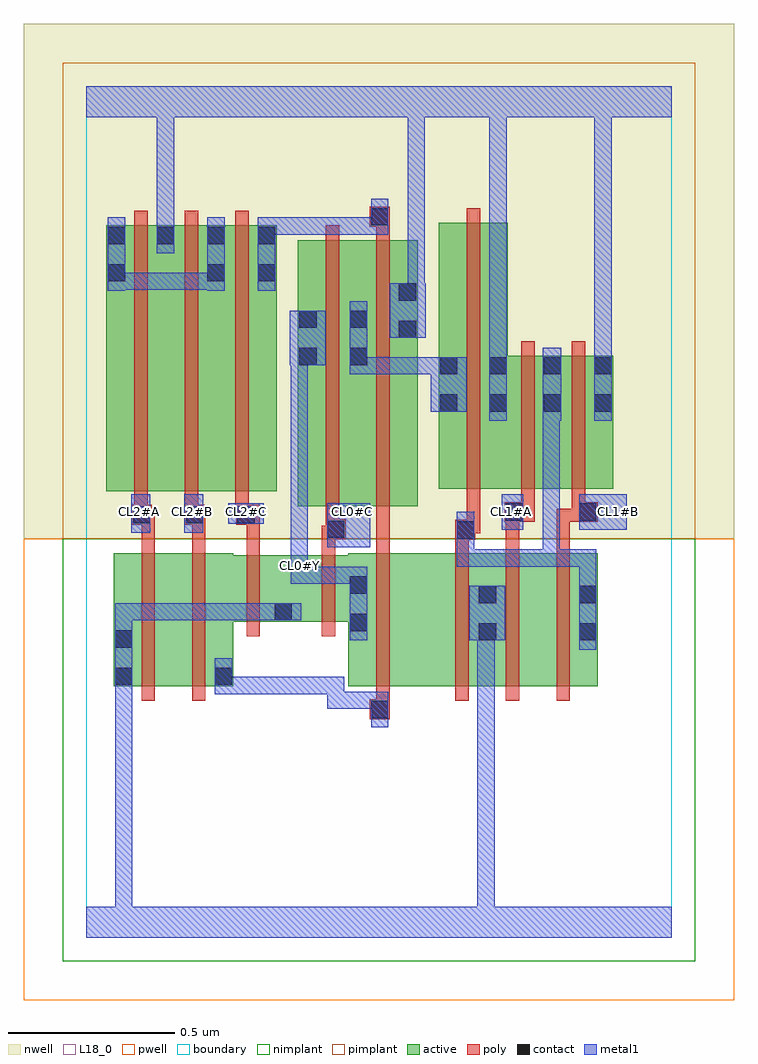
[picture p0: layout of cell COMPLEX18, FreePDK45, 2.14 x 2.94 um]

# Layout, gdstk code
import gdstk
lib = gdstk.Library(unit=1e-6, precision=1e-09)
def R(c, l, rs):  # rectangles x0, y0, x1, y1
    for r in rs: c.add(gdstk.rectangle(r[:2], r[2:], *l))
def A(c, l, x, y, w, h, nx, ny, dx, dy):  # array of equal rectangles
    R(c, l, [(x+i*dx, y+j*dy, x+i*dx+w, y+j*dy+h) for i in range(nx) for j in range(ny)])
active = (1, 0)
pwell = (2, 0)
nwell = (3, 0)
nimplant = (4, 0)
pimplant = (5, 0)
poly = (9, 0)
contact = (10, 0)
metal1 = (11, 0)
L18_0 = (18, 0)
boundary = (235, 0)

complex18 = lib.new_cell('COMPLEX18')
R(complex18, active, [(0.082,0.756,0.142,1.156), (0.082,0.756,0.262,1.156), (0.262,0.756,0.442,1.156), (0.382,0.756,0.442,0.956), (0.788,0.756,0.968,1.156), (0.968,0.756,1.236,1.156), (1.176,0.756,1.358,1.156), (1.176,0.756,1.236,1.062), (1.358,0.756,1.538,1.156), (1.478,0.756,1.538,1.156), (0.788,0.762,0.848,1.118), (0.382,0.95,0.622,1.15), (0.562,0.95,0.848,1.15), (0.562,0.95,0.622,1.062), (0.636,1.298,0.696,2.044), (0.636,1.298,0.848,2.098), (0.788,1.298,0.996,2.098), (0.936,1.298,0.996,2.044), (0.06,1.342,0.268,2.142), (0.06,1.342,0.12,2.142), (0.208,1.342,0.42,2.142), (0.36,1.342,0.572,2.142), (0.512,1.342,0.572,2.142), (0.788,1.35,0.848,2.044), (1.06,1.35,1.268,2.15), (1.06,1.35,1.12,2.044), (1.208,1.35,1.432,1.75), (1.372,1.35,1.584,1.75), (1.524,1.35,1.584,1.75), (1.372,1.388,1.432,1.75), (1.208,1.416,1.268,1.75), (0.208,1.686,0.268,2.142), (0.36,1.686,0.42,2.142)])
R(complex18, pwell, [(-0.188,-0.188,1.948,1.2)])
R(complex18, nwell, [(-0.188,1.2,1.948,2.748)])
R(complex18, nimplant, [(-0.072,-0.072,1.832,1.2)])
R(complex18, pimplant, [(-0.072,1.2,1.832,2.632)])
A(complex18, poly, 1.11, 0.712, 0.04, 0.488, 3, 1, 0.152, 0)
A(complex18, poly, 0.144, 1.262, 0.04, 0.076, 3, 1, 0.152, 0)
A(complex18, poly, 0.144, 1.298, 0.04, 0.888, 3, 1, 0.152, 0)
R(complex18, poly, [(0.852,0.656,0.912,0.716), (0.872,0.676,0.912,0.752), (0.166,0.712,0.206,1.2), (0.318,0.712,0.358,1.2), (0.872,0.712,0.912,1.2), (0.482,0.906,0.522,1.194), (0.708,0.906,0.748,1.194), (0.482,1.154,0.522,1.282), (0.708,1.154,0.748,1.238), (0.166,1.16,0.206,1.282), (0.318,1.16,0.358,1.282), (0.872,1.16,0.912,1.236), (1.11,1.16,1.15,1.236), (1.262,1.16,1.302,1.29), (1.414,1.16,1.454,1.29), (0.872,1.196,0.912,1.236), (0.872,1.196,0.912,1.236), (0.872,1.196,0.912,1.236), (0.872,1.196,0.912,1.294), (1.11,1.196,1.17,1.256), (0.708,1.198,0.76,1.238), (0.72,1.198,0.76,1.238), (0.72,1.198,0.78,1.258), (1.13,1.216,1.17,1.256), (1.13,1.216,1.184,1.256), (1.144,1.216,1.184,1.346), (0.72,1.218,0.76,1.294), (0.136,1.242,0.196,1.302), (0.156,1.242,0.196,1.282), (0.156,1.242,0.206,1.282), (0.296,1.242,0.356,1.302), (0.316,1.242,0.356,1.282), (0.316,1.242,0.358,1.282), (0.45,1.242,0.522,1.302), (1.258,1.25,1.348,1.31), (1.262,1.25,1.302,1.29), (1.262,1.25,1.302,1.29), (1.414,1.25,1.5,1.29), (1.46,1.25,1.5,1.29), (1.46,1.25,1.538,1.31), (0.72,1.254,0.76,2.142), (0.872,1.254,0.912,2.142), (0.448,1.262,0.49,1.302), (0.45,1.262,0.49,1.302), (1.308,1.27,1.348,1.346), (1.46,1.27,1.5,1.346), (1.144,1.306,1.184,2.194), (1.308,1.306,1.348,1.794), (1.46,1.306,1.5,1.794), (0.872,2.102,0.912,2.178), (0.852,2.138,0.912,2.198)])
A(complex18, contact, 0.212, 2.086, 0.052, 0.052, 3, 1, 0.152, 0)
R(complex18, contact, [(0.856,0.66,0.908,0.712), (0.086,0.76,0.138,0.812), (0.386,0.76,0.438,0.812), (0.086,0.872,0.138,0.924), (1.18,0.894,1.232,0.946), (1.482,0.894,1.534,0.946), (0.792,0.922,0.844,0.974), (0.566,0.954,0.618,1.006), (1.18,1.006,1.232,1.058), (1.482,1.006,1.534,1.058), (0.792,1.034,0.844,1.086), (1.114,1.2,1.166,1.252), (0.724,1.202,0.776,1.254), (0.14,1.246,0.192,1.298), (0.3,1.246,0.352,1.298), (0.454,1.246,0.506,1.298), (1.262,1.254,1.314,1.306), (1.482,1.254,1.534,1.306), (1.064,1.582,1.116,1.634), (1.212,1.582,1.264,1.634), (1.376,1.582,1.428,1.634), (1.528,1.582,1.58,1.634), (1.064,1.694,1.116,1.746), (1.212,1.694,1.264,1.746), (1.376,1.694,1.428,1.746), (1.528,1.694,1.58,1.746), (0.64,1.722,0.692,1.774), (0.792,1.722,0.844,1.774), (0.94,1.804,0.992,1.856), (0.64,1.834,0.692,1.886), (0.792,1.834,0.844,1.886), (0.94,1.916,0.992,1.968), (0.064,1.974,0.116,2.026), (0.364,1.974,0.416,2.026), (0.516,1.974,0.568,2.026), (0.064,2.086,0.116,2.138), (0.856,2.142,0.908,2.194)])
R(complex18, metal1, [(0,0,1.76,0.092), (0.086,0.04,0.138,0.784), (1.176,0.04,1.228,0.092), (1.176,0.04,1.228,0.092), (1.176,0.04,1.228,0.092), (1.176,0.04,1.228,0.092), (1.176,0.04,1.228,0.092), (1.176,0.04,1.228,0.092), (1.176,0.04,1.228,0.092), (1.176,0.04,1.228,0.092), (1.176,0.04,1.228,0.092), (1.176,0.04,1.228,0.092), (1.176,0.04,1.228,0.092), (1.176,0.04,1.228,0.092), (1.176,0.04,1.228,0.946), (0.856,0.632,0.908,0.74), (0.724,0.688,0.776,0.74), (0.724,0.688,0.908,0.74), (0.724,0.688,0.776,0.784), (0.086,0.732,0.138,0.784), (0.086,0.732,0.138,0.784), (0.086,0.732,0.138,0.784), (0.086,0.732,0.138,0.784), (0.086,0.732,0.138,0.784), (0.086,0.732,0.138,0.784), (0.086,0.732,0.138,0.784), (0.086,0.732,0.138,0.784), (0.086,0.732,0.138,0.784), (0.086,0.732,0.138,0.784), (0.086,0.732,0.138,0.784), (0.086,0.732,0.138,0.784), (0.086,0.732,0.138,0.952), (0.386,0.732,0.438,0.784), (0.386,0.732,0.438,0.784), (0.386,0.732,0.438,0.84), (0.386,0.732,0.666,0.784), (0.614,0.732,0.666,0.784), (0.614,0.732,0.666,0.784), (0.614,0.732,0.666,0.784), (0.614,0.732,0.776,0.784), (0.724,0.732,0.776,0.784), (0.724,0.732,0.776,0.784), (0.724,0.732,0.776,0.784), (1.482,0.866,1.534,1.086), (0.792,0.894,0.844,1.114), (1.152,0.894,1.26,1.058), (0.086,0.9,0.138,1.006), (0.086,0.954,0.138,1.006), (0.086,0.954,0.138,1.006), (0.086,0.954,0.138,1.006), (0.086,0.954,0.138,1.006), (0.086,0.954,0.138,1.006), (0.086,0.954,0.138,1.006), (0.086,0.954,0.138,1.006), (0.086,0.954,0.288,1.006), (0.236,0.954,0.288,1.006), (0.236,0.954,0.288,1.006), (0.236,0.954,0.288,1.006), (0.236,0.954,0.398,1.006), (0.346,0.954,0.398,1.006), (0.346,0.954,0.398,1.006), (0.346,0.954,0.398,1.006), (0.346,0.954,0.59,1.006), (0.538,0.954,0.646,1.006), (1.482,1.034,1.534,1.168), (0.792,1.062,0.844,1.114), (0.792,1.062,0.844,1.116), (0.614,1.064,0.798,1.116), (0.614,1.064,0.666,1.174), (0.746,1.064,0.798,1.116), (0.746,1.064,0.844,1.116), (1.114,1.116,1.424,1.168), (1.114,1.116,1.166,1.224), (1.372,1.116,1.424,1.168), (1.372,1.116,1.424,1.168), (1.372,1.116,1.424,1.168), (1.372,1.116,1.534,1.168), (1.372,1.116,1.424,1.606), (1.482,1.116,1.534,1.168), (1.482,1.116,1.534,1.168), (1.482,1.116,1.534,1.168), (0.614,1.122,0.666,1.774), (1.114,1.172,1.166,1.224), (1.114,1.172,1.166,1.28), (0.724,1.174,0.854,1.306), (0.134,1.218,0.192,1.334), (0.294,1.218,0.352,1.334), (1.25,1.226,1.314,1.334), (1.482,1.226,1.626,1.334), (0.426,1.244,0.534,1.306), (1.212,1.554,1.264,1.774), (1.372,1.554,1.424,1.606), (1.372,1.554,1.424,1.606), (1.372,1.554,1.428,1.774), (1.528,1.554,1.58,1.774), (1.036,1.582,1.144,1.746), (0.792,1.694,0.844,1.914), (0.792,1.694,0.978,1.746), (0.926,1.694,0.978,1.746), (0.926,1.694,0.978,1.746), (0.926,1.694,0.978,1.746), (0.926,1.694,1.088,1.746), (0.612,1.722,0.72,1.886), (0.614,1.722,0.666,1.774), (0.614,1.722,0.666,1.774), (1.212,1.722,1.264,2.52), (1.528,1.722,1.58,2.52), (0.912,1.804,1.02,1.968), (0.966,1.916,1.018,1.968), (0.966,1.916,1.018,1.968), (0.966,1.916,1.018,1.968), (0.966,1.916,1.018,1.968), (0.966,1.916,1.018,2.52), (0.064,1.946,0.116,2.166), (0.364,1.946,0.416,2.166), (0.516,1.946,0.568,2.166), (0.064,1.948,0.116,2), (0.064,1.948,0.116,2), (0.064,1.948,0.288,2), (0.236,1.948,0.288,2), (0.236,1.948,0.288,2), (0.236,1.948,0.288,2), (0.236,1.948,0.416,2), (0.212,2.058,0.264,2.166), (0.212,2.114,0.264,2.166), (0.212,2.114,0.264,2.166), (0.212,2.114,0.264,2.166), (0.212,2.114,0.264,2.166), (0.212,2.114,0.264,2.166), (0.212,2.114,0.264,2.166), (0.212,2.114,0.264,2.52), (0.516,2.114,0.568,2.166), (0.516,2.114,0.568,2.166), (0.516,2.114,0.568,2.166), (0.516,2.114,0.568,2.166), (0.516,2.114,0.776,2.166), (0.724,2.114,0.776,2.166), (0.724,2.114,0.776,2.166), (0.724,2.114,0.776,2.166), (0.724,2.114,0.908,2.166), (0.856,2.114,0.908,2.222), (0,2.468,1.76,2.56), (0.212,2.468,0.264,2.52), (0.212,2.468,0.264,2.52), (0.966,2.468,1.018,2.52), (0.966,2.468,1.018,2.52), (0.966,2.468,1.018,2.52), (0.966,2.468,1.018,2.52), (1.212,2.468,1.264,2.52), (1.212,2.468,1.264,2.52), (1.212,2.468,1.264,2.52), (1.212,2.468,1.264,2.52), (1.212,2.468,1.264,2.52), (1.212,2.468,1.264,2.52), (1.212,2.468,1.264,2.52), (1.212,2.468,1.264,2.52), (1.528,2.468,1.58,2.52), (1.528,2.468,1.58,2.52), (1.528,2.468,1.58,2.52), (1.528,2.468,1.58,2.52), (1.528,2.468,1.58,2.52), (1.528,2.468,1.58,2.52), (1.528,2.468,1.58,2.52), (1.528,2.468,1.58,2.52), (1.528,2.468,1.58,2.52), (1.528,2.468,1.58,2.52), (1.528,2.468,1.58,2.52), (1.528,2.468,1.58,2.52), (1.528,2.468,1.58,2.52), (1.528,2.468,1.58,2.52), (1.528,2.468,1.58,2.52), (1.528,2.468,1.58,2.52)])
A(complex18, L18_0, 0.134, 1.254, 0.052, 0.052, 3, 1, 0.16, 0)
R(complex18, L18_0, [(0,0,1.76,0.092), (0.086,0.04,0.138,0.784), (1.176,0.04,1.228,0.092), (1.176,0.04,1.228,0.092), (1.176,0.04,1.228,0.092), (1.176,0.04,1.228,0.092), (1.176,0.04,1.228,0.092), (1.176,0.04,1.228,0.092), (1.176,0.04,1.228,0.092), (1.176,0.04,1.228,0.092), (1.176,0.04,1.228,0.092), (1.176,0.04,1.228,0.092), (1.176,0.04,1.228,0.092), (1.176,0.04,1.228,0.092), (1.176,0.04,1.228,0.946), (0.086,0.732,0.138,0.784), (0.086,0.732,0.138,0.784), (0.086,0.732,0.138,0.784), (0.086,0.732,0.138,0.784), (0.086,0.732,0.138,0.784), (0.086,0.732,0.138,0.784), (0.086,0.732,0.138,0.784), (0.086,0.732,0.138,0.784), (0.086,0.732,0.138,0.784), (0.086,0.732,0.138,0.784), (0.086,0.732,0.138,0.784), (0.086,0.732,0.138,0.784), (0.086,0.732,0.138,0.952), (0.792,0.894,0.844,1.114), (1.152,0.894,1.26,1.058), (0.086,0.9,0.138,1.006), (0.086,0.954,0.138,1.006), (0.086,0.954,0.138,1.006), (0.086,0.954,0.138,1.006), (0.086,0.954,0.138,1.006), (0.086,0.954,0.138,1.006), (0.086,0.954,0.138,1.006), (0.086,0.954,0.138,1.006), (0.086,0.954,0.288,1.006), (0.236,0.954,0.288,1.006), (0.236,0.954,0.288,1.006), (0.236,0.954,0.288,1.006), (0.236,0.954,0.398,1.006), (0.346,0.954,0.398,1.006), (0.346,0.954,0.398,1.006), (0.346,0.954,0.398,1.006), (0.346,0.954,0.59,1.006), (0.538,0.954,0.646,1.006), (0.792,1.062,0.844,1.114), (0.792,1.062,0.844,1.116), (0.614,1.064,0.666,1.174), (0.614,1.064,0.798,1.116), (0.746,1.064,0.798,1.116), (0.746,1.064,0.844,1.116), (0.614,1.094,0.666,1.146), (0.614,1.122,0.666,1.774), (0.724,1.174,0.854,1.306), (0.134,1.218,0.192,1.334), (0.294,1.218,0.352,1.334), (1.25,1.226,1.314,1.334), (1.482,1.226,1.626,1.334), (0.426,1.244,0.534,1.306), (0.774,1.254,0.826,1.306), (1.254,1.254,1.306,1.306), (1.574,1.254,1.626,1.306), (1.212,1.554,1.264,1.774), (1.528,1.554,1.58,1.774), (0.612,1.722,0.72,1.886), (0.614,1.722,0.666,1.774), (0.614,1.722,0.666,1.774), (1.212,1.722,1.264,2.52), (1.528,1.722,1.58,2.52), (0.912,1.804,1.02,1.968), (0.966,1.916,1.018,1.968), (0.966,1.916,1.018,1.968), (0.966,1.916,1.018,1.968), (0.966,1.916,1.018,1.968), (0.966,1.916,1.018,2.52), (0.212,2.058,0.264,2.166), (0.212,2.114,0.264,2.166), (0.212,2.114,0.264,2.166), (0.212,2.114,0.264,2.166), (0.212,2.114,0.264,2.166), (0.212,2.114,0.264,2.166), (0.212,2.114,0.264,2.166), (0.212,2.114,0.264,2.52), (0,2.468,1.76,2.56), (0.212,2.468,0.264,2.52), (0.212,2.468,0.264,2.52), (0.966,2.468,1.018,2.52), (0.966,2.468,1.018,2.52), (0.966,2.468,1.018,2.52), (0.966,2.468,1.018,2.52), (1.212,2.468,1.264,2.52), (1.212,2.468,1.264,2.52), (1.212,2.468,1.264,2.52), (1.212,2.468,1.264,2.52), (1.212,2.468,1.264,2.52), (1.212,2.468,1.264,2.52), (1.212,2.468,1.264,2.52), (1.212,2.468,1.264,2.52), (1.528,2.468,1.58,2.52), (1.528,2.468,1.58,2.52), (1.528,2.468,1.58,2.52), (1.528,2.468,1.58,2.52), (1.528,2.468,1.58,2.52), (1.528,2.468,1.58,2.52), (1.528,2.468,1.58,2.52), (1.528,2.468,1.58,2.52), (1.528,2.468,1.58,2.52), (1.528,2.468,1.58,2.52), (1.528,2.468,1.58,2.52), (1.528,2.468,1.58,2.52), (1.528,2.468,1.58,2.52), (1.528,2.468,1.58,2.52), (1.528,2.468,1.58,2.52), (1.528,2.468,1.58,2.52)])
R(complex18, boundary, [(0,0,1.76,2.56)])
complex18.add(gdstk.Label('CL0#C', (0.8,1.28), layer=11, texttype=0))
complex18.add(gdstk.Label('CL0#Y', (0.64,1.12), layer=11, texttype=0))
complex18.add(gdstk.Label('CL1#A', (1.28,1.28), layer=11, texttype=0))
complex18.add(gdstk.Label('CL1#B', (1.6,1.28), layer=11, texttype=0))
complex18.add(gdstk.Label('CL2#A', (0.16,1.28), layer=11, texttype=0))
complex18.add(gdstk.Label('CL2#B', (0.32,1.28), layer=11, texttype=0))
complex18.add(gdstk.Label('CL2#C', (0.48,1.28), layer=11, texttype=0))

lib.write_gds('COMPLEX18.gds')
